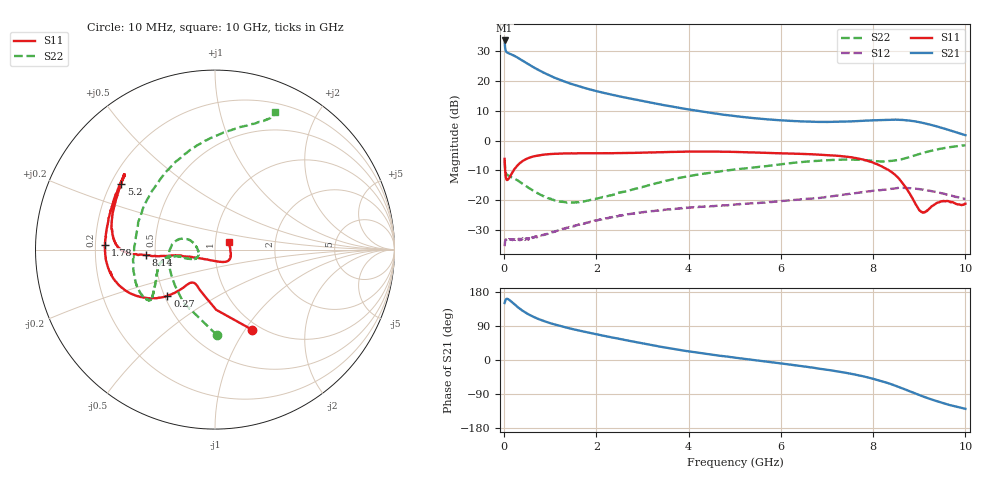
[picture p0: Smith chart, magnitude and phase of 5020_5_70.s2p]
# Hz S  dB  R 50
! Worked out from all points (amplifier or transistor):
!   1000 points, 10 MHz to 10 GHz, reference 50 ohm
!   highest |S21| = 33.4 dB at 10 MHz (marker M1)
!   |S21| within 3 dB of that: start of sweep to 27.71 MHz
!   unconditionally stable (mu >= 1): 48.3 MHz to end of sweep
!   at 1.67 GHz: K = 1.14, MAG = 20.6 dB, |S12| = -27.9 dB
!   at 5.01 GHz: K = 1.12, MAG = 12.6 dB, |S12| = -21.4 dB
!   at 10 GHz: K = 1.16, MAG = 8.2 dB, |S12| = -19.6 dB
!   S11 on the Smith chart (normalised r, x): 10 MHz: 0.91, -1.08; 270 MHz: 0.52, -0.31; 1.78 GHz: 0.24, +0.02; 5.2 GHz: 0.24, +0.30; 8.14 GHz: 0.45, -0.03; 10 GHz: 1.16, +0.10
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1e7  -6.13 -65.0  33.44 150.5  -35.29 38.6  -6.44 -88.7
7e7  -13.17 -122.5  29.38 161.4  -33.06 8.2  -11.47 -165.9
8e7  -13.05 -124.7  29.28 160.9  -33.10 6.8  -11.64 -168.7
1.1e8  -12.52 -127.4  29.08 158.7  -32.95 7.6  -11.82 -176.2
2.7e8  -8.65 -136.0  27.90 142.0  -33.28 8.9  -13.14 166.5
3.8e8  -7.07 -142.2  26.89 131.7  -33.08 15.3  -14.26 161.7
5.2e8  -5.90 -149.5  25.56 121.1  -32.68 18.2  -15.74 159.4
6.5e8  -5.25 -155.0  24.37 113.1  -32.36 24.4  -16.99 160.4
7.9e8  -4.85 -160.0  23.19 106.0  -31.72 26.5  -18.13 163.6
9.6e8  -4.57 -165.0  21.92 98.7  -30.91 30.9  -19.26 169.3
1.15e9  -4.40 -169.6  20.64 91.9  -30.18 33.8  -20.16 177.8
1.68e9  -4.24 179.5  17.87 76.2  -27.79 36.9  -20.37 -162.7
1.78e9  -4.24 177.4  17.42 73.6  -27.46 37.1  -20.18 -160.2
2.4e9  -4.22 165.5  15.09 58.0  -25.41 34.3  -17.99 -154.9
3.34e9  -3.92 148.0  12.19 36.1  -23.40 25.0  -14.13 -168.1
5.01e9  -3.81 143.1  8.18 6.1  -21.35 9.0  -9.66 -163.3
5.2e9  -3.90 144.9  7.83 3.2  -21.16 7.0  -9.35 -159.8
6.67e9  -4.57 167.8  6.29 -19.8  -19.40 -7.4  -6.92 -142.1
8.14e9  -8.31 -175.4  6.83 -54.5  -16.62 -35.4  -6.97 176.9
8.34e9  -9.92 -173.4  6.93 -61.7  -16.23 -41.3  -6.85 160.6
9.26e9  -22.13 -61.5  5.21 -103.8  -16.86 -80.8  -3.42 81.9
1e10  -21.10 30.1  1.79 -128.8  -19.58 -104.0  -1.56 66.4
